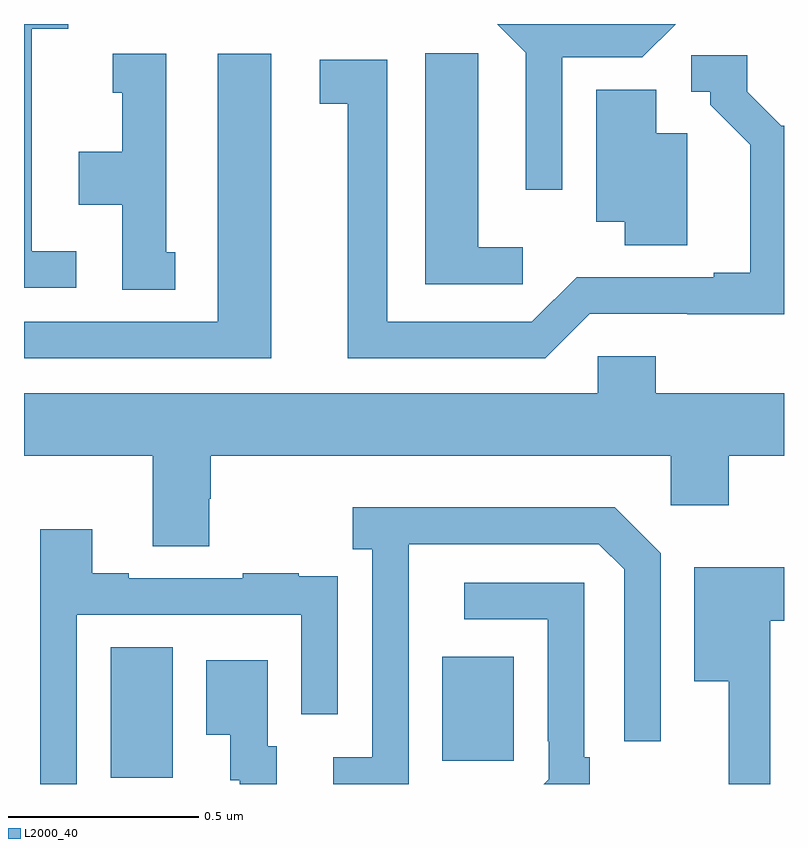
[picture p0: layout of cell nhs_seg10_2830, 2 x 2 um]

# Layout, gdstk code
import gdstk
lib = gdstk.Library(unit=1e-6, precision=1e-09)
def R(c, l, rs):  # rectangles x0, y0, x1, y1
    for r in rs: c.add(gdstk.rectangle(r[:2], r[2:], *l))
def P(c, l, *ps):  # polygons
    for p in ps: c.add(gdstk.Polygon(p, *l))
L2000_40 = (2000, 40)

nhs_seg10_2830 = lib.new_cell('nhs_seg10_2830')
R(nhs_seg10_2830, L2000_40, [(146.228,1251.517,146.392,1251.86), (147.101,1251.561,147.289,1251.835)])
P(nhs_seg10_2830, L2000_40, [(146.137,1252.902),(146.02,1252.902),(146.02,1253.488),(146.116,1253.488),(146.116,1253.5),(146,1253.5),(146,1252.806),(146.137,1252.806)],
  [(147.417,1253.412),(147.627,1253.412),(147.715,1253.5),(147.245,1253.5),(147.321,1253.424),(147.321,1253.064),(147.417,1253.064)],
  [(147.313,1252.912),(147.196,1252.912),(147.196,1253.315),(147.195,1253.315),(147.195,1253.423),(147.056,1253.423),(147.056,1252.815),(147.313,1252.815)],
  [(146.398,1252.899),(146.374,1252.899),(146.374,1253.422),(146.234,1253.422),(146.234,1253.319),(146.258,1253.319),(146.258,1253.164),(146.144,1253.164),(146.144,1253.024),(146.258,1253.024),(146.258,1252.801),(146.398,1252.801)],
  [(146.65,1253.422),(146.51,1253.422),(146.51,1252.716),(146,1252.716),(146,1252.62),(146.65,1252.62)],
  [(147.489,1252.737),(147.745,1252.737),(147.745,1252.736),(148,1252.736),(148,1253.232),(147.993,1253.232),(147.903,1253.322),(147.903,1253.418),(147.756,1253.418),(147.756,1253.322),(147.806,1253.322),(147.806,1253.287),(147.911,1253.182),(147.911,1252.846),(147.815,1252.846),(147.815,1252.833),(147.55,1252.833),(147.55,1252.834),(147.454,1252.834),(147.336,1252.716),(146.956,1252.716),(146.956,1253.406),(146.778,1253.406),(146.778,1253.29),(146.852,1253.29),(146.852,1252.62),(147.372,1252.62)],
  [(147.745,1253.212),(147.664,1253.212),(147.664,1253.327),(147.506,1253.327),(147.506,1252.979),(147.581,1252.979),(147.581,1252.918),(147.745,1252.918)],
  [(146.487,1252.251),(146.492,1252.251),(146.492,1252.364),(147.702,1252.364),(147.702,1252.233),(147.854,1252.233),(147.854,1252.364),(148,1252.364),(148,1252.528),(147.662,1252.528),(147.662,1252.626),(147.51,1252.626),(147.51,1252.528),(146,1252.528),(146,1252.364),(146.339,1252.364),(146.339,1252.126),(146.487,1252.126)],
  [(147.012,1251.931),(147.013,1251.931),(147.013,1252.131),(147.513,1252.131),(147.579,1252.065),(147.579,1251.612),(147.675,1251.612),(147.675,1252.107),(147.554,1252.228),(146.865,1252.228),(146.865,1252.118),(146.916,1252.118),(146.916,1251.57),(146.814,1251.57),(146.814,1251.5),(147.012,1251.5)],
  [(146.139,1251.945),(146.73,1251.945),(146.73,1251.684),(146.826,1251.684),(146.826,1251.938),(146.825,1251.938),(146.825,1252.047),(146.723,1252.047),(146.723,1252.054),(146.575,1252.054),(146.575,1252.041),(146.275,1252.041),(146.275,1252.054),(146.179,1252.054),(146.179,1252.171),(146.043,1252.171),(146.043,1251.5),(146.139,1251.5)],
  [(147.964,1251.929),(148,1251.929),(148,1252.071),(147.764,1252.071),(147.764,1251.77),(147.854,1251.77),(147.854,1251.5),(147.964,1251.5)],
  [(147.489,1251.571),(147.474,1251.571),(147.474,1252.029),(147.159,1252.029),(147.159,1251.933),(147.378,1251.933),(147.378,1251.613),(147.381,1251.613),(147.381,1251.513),(147.368,1251.5),(147.489,1251.5)],
  [(146.665,1251.6),(146.641,1251.6),(146.641,1251.826),(146.48,1251.826),(146.48,1251.629),(146.543,1251.629),(146.543,1251.51),(146.568,1251.51),(146.568,1251.5),(146.665,1251.5)])

lib.write_gds('nhs_seg10_2830.gds')
